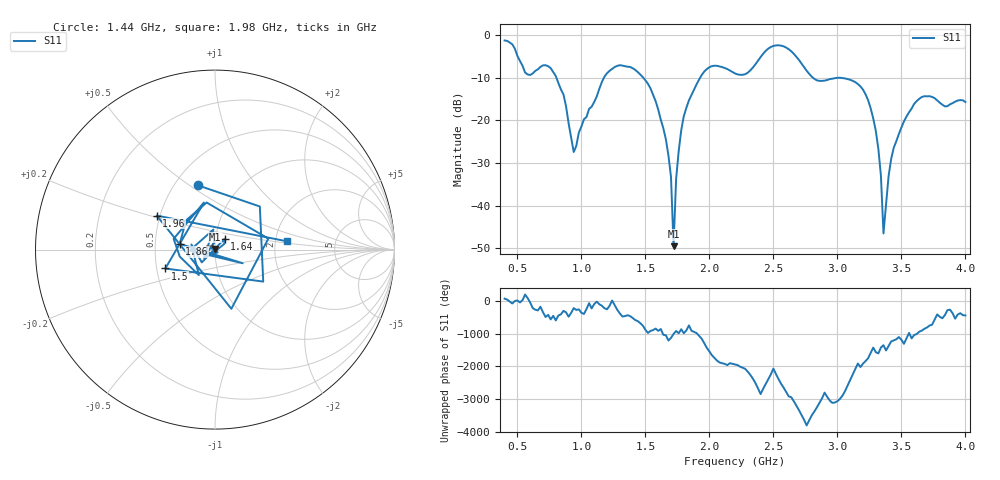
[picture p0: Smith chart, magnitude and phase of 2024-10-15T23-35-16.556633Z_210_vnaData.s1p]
! Created with skrf (http://scikit-rf.org).
# Hz S RI R 50.0
!freq ReS11 ImS11
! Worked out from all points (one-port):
!   181 points, 400 MHz to 4 GHz, reference 50 ohm
!   lowest |S11| = -49.5 dB at 1.72 GHz (marker M1), VSWR 1.01, Z = 50.1 + j0.321 ohm
!   |S11| at or under -10 dB: 805.3 MHz to 1.175 GHz (370 MHz wide, 37.4 % of centre); 1.485 GHz to 1.927 GHz (442.3 MHz wide, 25.9 % of centre); 3.03 GHz to end of sweep (the widest 3 of 4)
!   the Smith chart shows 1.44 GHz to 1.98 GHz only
!   S11 on the Smith chart (normalised r, x): 1.44 GHz: 0.65, +0.54; 1.5 GHz: 0.56, -0.13; 1.64 GHz: 1.11, +0.13; 1.86 GHz: 0.67, +0.04; 1.96 GHz: 0.48, +0.21; 1.98 GHz: 2.31, +0.26
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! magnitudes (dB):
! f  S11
! 400 MHz  -1.2
! 580 MHz  -9.2
! 760 MHz  -7.7
! 860 MHz  -13.9
! 940 MHz  -27.4
! 1.18 GHz  -9.7
! 1.3 GHz  -7.0
! 1.44 GHz  -8.6
! 1.5 GHz  -10.6
! 1.64 GHz  -21.8
! 1.7 GHz  -33.3
! 1.72 GHz  -49.5
! 1.74 GHz  -33.7
! 1.76 GHz  -27.2
! 1.86 GHz  -14.0
! 1.96 GHz  -8.5
! 1.98 GHz  -7.9
! 2.2 GHz  -8.9
! 2.5 GHz  -2.5
! 2.66 GHz  -4.4
! 2.84 GHz  -10.6
! 3.1 GHz  -10.4
! 3.28 GHz  -19.5
! 3.34 GHz  -32.9
! 3.36 GHz  -46.5
! 3.42 GHz  -29.1
! 3.56 GHz  -18.1
! 4 GHz  -15.7
